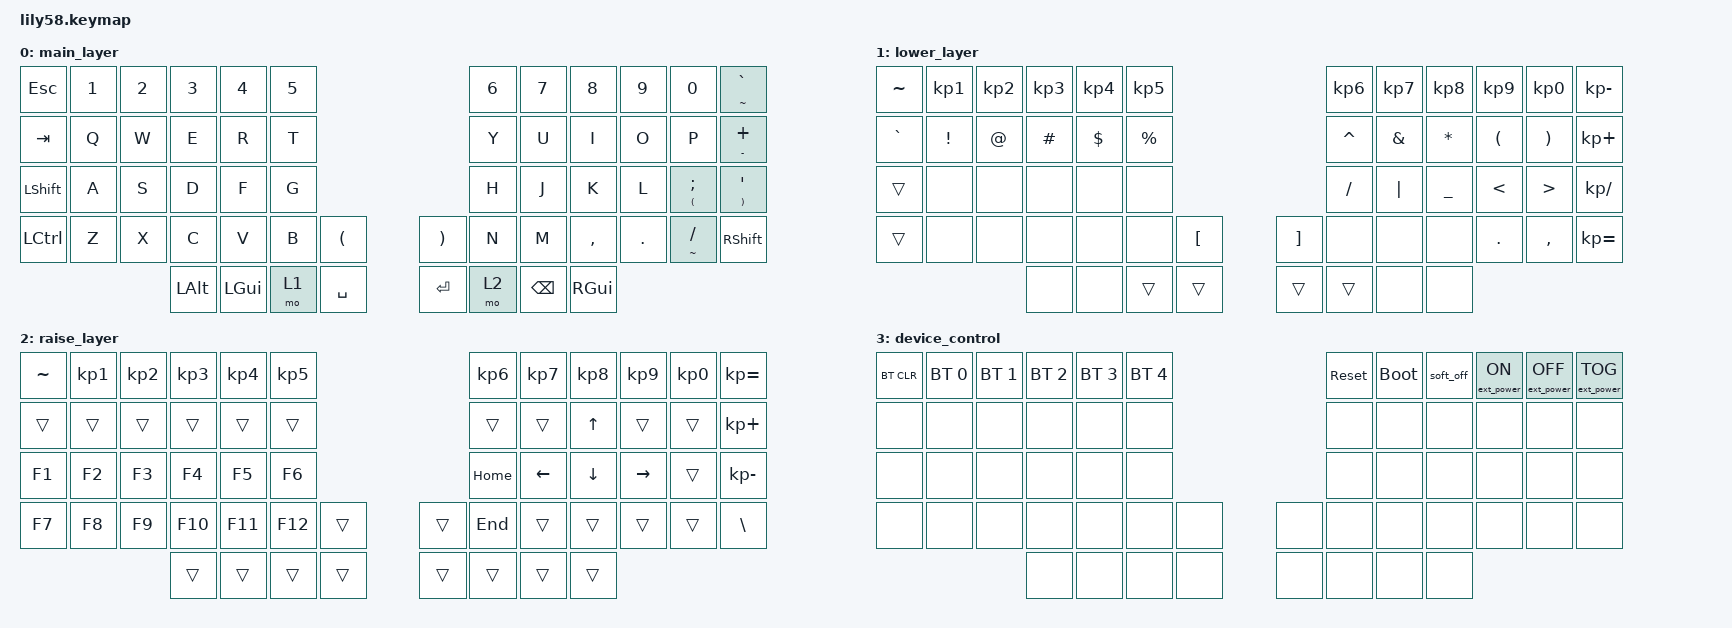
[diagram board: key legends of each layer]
/*
 * Copyright (c) 2020 The ZMK Contributors
 *
 * SPDX-License-Identifier: MIT
 */

#include <behaviors.dtsi>
#include <dt-bindings/zmk/bt.h>
#include <dt-bindings/zmk/ext_power.h>
#include <dt-bindings/zmk/keys.h>

&led_strip { chain-length = <1>; };

/ {
    chosen {
        zmk,underglow = &led_strip;
        zmk,battery = &vbatt;
    };

    vbatt: vbatt { compatible = "zmk,battery-nrf-vddh"; };

    combos { compatible = "zmk,combos"; };

    keymap {
        compatible = "zmk,keymap";

        main_layer {
            // ------------------------------------------------------------------------------------------------------------
            // |  ESC  |  1  |  2  |  3   |  4   |  5   |                   |  6   |  7    |  8    |  9   |   0   |   `   |
            // |  TAB  |  Q  |  W  |  E   |  R   |  T   |                   |  Y   |  U    |  I    |  O   |   P   |   -   |
            // |  CTRL |  A  |  S  |  D   |  F   |  G   |                   |  H   |  J    |  K    |  L   |   ;   |   '   |
            // | SHIFT |  Z  |  X  |  C   |  V   |  B   |   "["  |  |  "]"  |  N   |  M    |  ,    |  .   |   /   | SHIFT |
            //                     | ALT  | GUI  | LOWER|  SPACE |  | ENTER | RAISE| BSPC  | GUI   |

            bindings = <
&kp ESC           &kp N1  &kp N2  &kp N3    &kp N4    &kp N5                                                 &kp N6  &kp N7    &kp N8     &kp N9   &kp N0                     &mt TILDE GRAVE
&kp TAB           &kp Q   &kp W   &kp E     &kp R     &kp T                                                  &kp Y   &kp U     &kp I      &kp O    &kp P                      &mt MINUS PLUS
&kp LSHFT         &kp A   &kp S   &kp D     &kp F     &kp G                                                  &kp H   &kp J     &kp K      &kp L    &mt LEFT_PARENTHESIS SEMI  &mt RIGHT_PARENTHESIS SQT
&kp LEFT_CONTROL  &kp Z   &kp X   &kp C     &kp V     &kp B   &kp LEFT_PARENTHESIS    &kp RIGHT_PARENTHESIS  &kp N   &kp M     &kp COMMA  &kp DOT  &mt TILDE FSLH             &kp RSHFT
                                  &kp LALT  &kp LGUI  &mo 1   &kp SPACE               &kp ENTER              &mo 2   &kp BSPC  &kp RGUI
            >;
        };

        lower_layer {
            // ------------------------------------------------------------------------------------------------------------
            // | BTCLR | BT1 | BT2 |  BT3 |  BT4 |  BT5 |                   |OUT_tog|       |       |      |       |       |
            // |  F1   |  F2 |  F3 |  F4  |  F5  |  F6  |                   |  F7  |  F8   |  F9   |  F10 |  F11  |  F12  |
            // |   `   |  !  |  @  |  #   |  $   |  %   |                   |  ^   |  &    |  *    |  (   |   )   |   ~   |
            // |       |     |     |      |      |      |        |  |       |      |  _    |  +    |  {   |   }   |  "|"  |
            //                     |      |      |      |        |  |       |      |       |       |

            bindings = <
&kp TILDE  &kp KP_NUMBER_1  &kp KP_NUMBER_2  &kp KP_NUMBER_3  &kp KP_NUMBER_4  &kp KP_NUMBER_5                        &kp KP_NUMBER_6  &kp KP_NUMBER_7  &kp KP_NUMBER_8  &kp KP_NUMBER_9  &kp KP_NUMBER_0   &kp KP_MINUS
&kp GRAVE  &kp EXCLAMATION  &kp AT_SIGN      &kp HASH         &kp DOLLAR       &kp PERCENT                            &kp CARET        &kp AMPERSAND    &kp ASTERISK     &kp LPAR         &kp RPAR          &kp KP_PLUS
&trans     &none            &none            &none            &none            &none                                  &kp SLASH        &kp PIPE         &kp UNDER        &kp LESS_THAN    &kp GREATER_THAN  &kp KP_DIVIDE
&trans     &none            &none            &none            &none            &none            &kp LBKT    &kp RBKT  &none            &none            &none            &kp DOT          &kp COMMA         &kp KP_EQUAL
                                             &none            &none            &trans           &trans      &trans    &trans           &none            &none
            >;
        };

        raise_layer {
            // ------------------------------------------------------------------------------------------------------------
            // |       |     |     |      |      |      |                   |      |       |       |      |       |       |
            // |   `   |  1  |  2  |  3   |  4   |  5   |                   |  6   |   7   |   8   |  9   |   0   |       |
            // |   F1  |  F2 |  F3 |  F4  |  F5  |  F6  |                   |      |   <-  |   v   |  ^   |  ->   |       |
            // |   F7  |  F8 |  F9 |  F10 |  F11 |  F12 |        |  |       |  +   |   -   |   =   |  [   |   ]   |   \   |
            //                     |      |      |      |        |  |       |      |       |       |

            bindings = <
&kp TILDE  &kp KP_NUMBER_1  &kp KP_NUMBER_2  &kp KP_NUMBER_3  &kp KP_NUMBER_4  &kp KP_NUMBER_5                    &kp KP_NUMBER_6  &kp KP_NUMBER_7  &kp KP_NUMBER_8  &kp KP_NUMBER_9  &kp KP_NUMBER_0  &kp KP_EQUAL
&trans     &trans           &trans           &trans           &trans           &trans                             &trans           &trans           &kp UP           &trans           &trans           &kp KP_PLUS
&kp F1     &kp F2           &kp F3           &kp F4           &kp F5           &kp F6                             &kp HOME         &kp LEFT         &kp DOWN         &kp RIGHT        &trans           &kp KP_MINUS
&kp F7     &kp F8           &kp F9           &kp F10          &kp F11          &kp F12          &trans    &trans  &kp END          &trans           &trans           &trans           &trans           &kp BSLH
                                             &trans           &trans           &trans           &trans    &trans  &trans           &trans           &trans
            >;
        };

        device_control {
            bindings = <
&bt BT_CLR  &bt BT_SEL 0  &bt BT_SEL 1  &bt BT_SEL 2  &bt BT_SEL 3  &bt BT_SEL 4                  &sys_reset  &bootloader  &soft_off  &ext_power EP_ON  &ext_power EP_OFF  &ext_power EP_TOG
&none       &none         &none         &none         &none         &none                         &none       &none        &none      &none             &none              &none
&none       &none         &none         &none         &none         &none                         &none       &none        &none      &none             &none              &none
&none       &none         &none         &none         &none         &none         &none    &none  &none       &none        &none      &none             &none              &none
                                        &none         &none         &none         &none    &none  &none       &none        &none
            >;
        };
    };

    conditional_layers {
        compatible = "zmk,conditional-layers";

        l3_enable {
            if-layers = <1 2>;
            then-layer = <3>;
        };
    };
};
